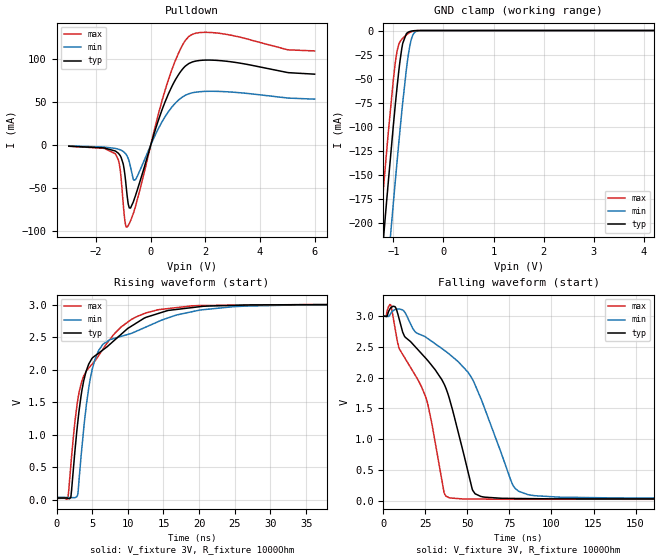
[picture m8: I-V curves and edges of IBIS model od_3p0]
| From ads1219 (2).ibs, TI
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|   od_3p0 Model
[Model]   od_3p0
Model_type   I/O_open_drain
Polarity   Non-Inverting
Enable   Active-Low
Vinl = 0.9
Vinh = 2.1
Vmeas = 1.5
Vref = 3.0
Cref = 2pF
Rref = 1000
|   typ   min   max
C_comp   1.14719E-12   1.10062E-12   1.17934E-12
[Model spec]
|subparameter
Vinl   0.9   0.8997   0.9003
Vinh   2.1   2.0993   2.1007
| Where Nom  PVT is Nominal Process, 3.0V, 27C
|   Fast PVT is Strong Process,  3.001V, -40C
|   Slow PVT is Weak Process,   2.999, 125C
[Voltage Range]   3   2.999   3.001
[Temperature Range]   27   125   -40
[Pullup Reference]   3   2.999   3.001
[Pulldown Reference]   0   0   0
[Power Clamp Reference]   3   2.999   3.001
[GND Clamp Reference]   0   0   0
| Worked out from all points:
|   slope of the pulldown table from 0 to 0.45 V, typ, clamps not added: 10.2 ohm
|   GND clamp passes 1 mA (typ) near -0.67 V on its own axis
|   falling waveform, V_fixture 3V, R_fixture 1000Ohm: 20-80 % time 26.8ns typ, 33.9ns min, 22.1ns max; typ from 3 V to 0.027 V
|   rising waveform, V_fixture 3V, R_fixture 1000Ohm: 20-80 % time 5.16ns typ, 3.33ns min, 5.01ns max; typ from 0.027 V to 3 V
[Pulldown]
|   Voltage   I(typ)   I(min)   I(max)
-3V       -1.28mA    -987.4uA   -1.32mA
-1.281V   -7.191mA   -3.962mA   -10.84mA
-1.119V   -12.27mA   -5.487mA   -28.43mA
-1.011V   -21.68mA   -7.32mA    -66.99mA
-948mV    -34.06mA   -9.027mA   -87.79mA
-867mV    -58.2mA    -12.62mA   -95.56mA
-741mV    -73.3mA    -25.44mA   -88.27mA
-561mV    -59mA      -40.31mA   -71.63mA
528mV     50.56mA    33.22mA    64.14mA
1.023V    82.35mA    52.61mA    107.5mA
1.401V    95.12mA    59.84mA    126.7mA
6V        82.62mA    53.52mA    109.7mA
[GND Clamp]
|   Voltage   I(typ)   I(min)   I(max)
-3V       -1.385A    -1.464A    -1.336A
-1.335V   -301.4mA   -384.6mA   -248.9mA
-1.164V   -195.1mA   -278.1mA   -143mA
-1.101V   -157mA     -239.5mA   -105.6mA
-1.002V   -99.23mA   -180.1mA   -51.63mA
-921mV    -55.84mA   -133mA     -19.92mA
-867mV    -31.11mA   -102.9mA   -11.45mA
-813mV    -13.18mA   -74.42mA   -7.937mA
-687mV    -1.336mA   -20.43mA   -2.561mA
-606mV    -293.1uA   -4.122mA   -674.7uA
-480mV    -13.53uA   -155.7uA   -22.9uA
6V        0A         0A         0A
[POWER Clamp]
|   Voltage   I(typ)   I(min)   I(max)
-3V       0A         0A         0A
0V        0A         0A         0A
6V        0A         0A         0A
[Ramp]
R_load = 1000
|   typ   min   max
dV/dt_r   1.78391/5.18217e-09   1.77556/3.26439e-09   1.78759/4.99856e-09
dV/dt_f   1.78391/2.67359e-08   1.77556/3.39532e-08   1.78759/2.20856e-08
[Falling Waveform]
V_fixture = 3V
V_fixture_min = 2.999V
V_fixture_max = 3.001V
R_fixture = 1000Ohm
C_fixture = 0F
|   Time   V(typ)   V(min)   V(max)
0s        3V         2.999V     3.001V
4.357ns   3.133V     3.043V     3.182V
9.256ns   2.965V     3.115V     2.483V
12.55ns   2.672V     3.069V     2.328V
25.1ns    2.317V     2.66V      1.692V
36.06ns   1.898V     2.448V     135.5mV
39.14ns   1.67V      2.383V     47mV
53.12ns   168.3mV    1.965V     27.05mV
80.42ns   35.11mV    153.6mV    22.8mV
240ns     26.82mV    39.73mV    21.68mV
[Rising Waveform]
V_fixture = 3V
V_fixture_min = 2.999V
V_fixture_max = 3.001V
R_fixture = 1000Ohm
C_fixture = 0F
|   Time   V(typ)   V(min)   V(max)
0s        26.82mV    39.73mV    21.68mV
1.596ns   22.36mV    34.65mV    19.59mV
2.003ns   33.72mV    33.36mV    527.8mV
2.95ns    1.163V     71.36mV    1.514V
3.597ns   1.705V     846mV      1.837V
4.506ns   2.084V     1.709V     2.022V
6.51ns    2.303V     2.39V      2.315V
14.23ns   2.862V     2.736V     2.921V
32.72ns   2.997V     2.992V     2.998V
120ns     3V         2.999V     3.001V
